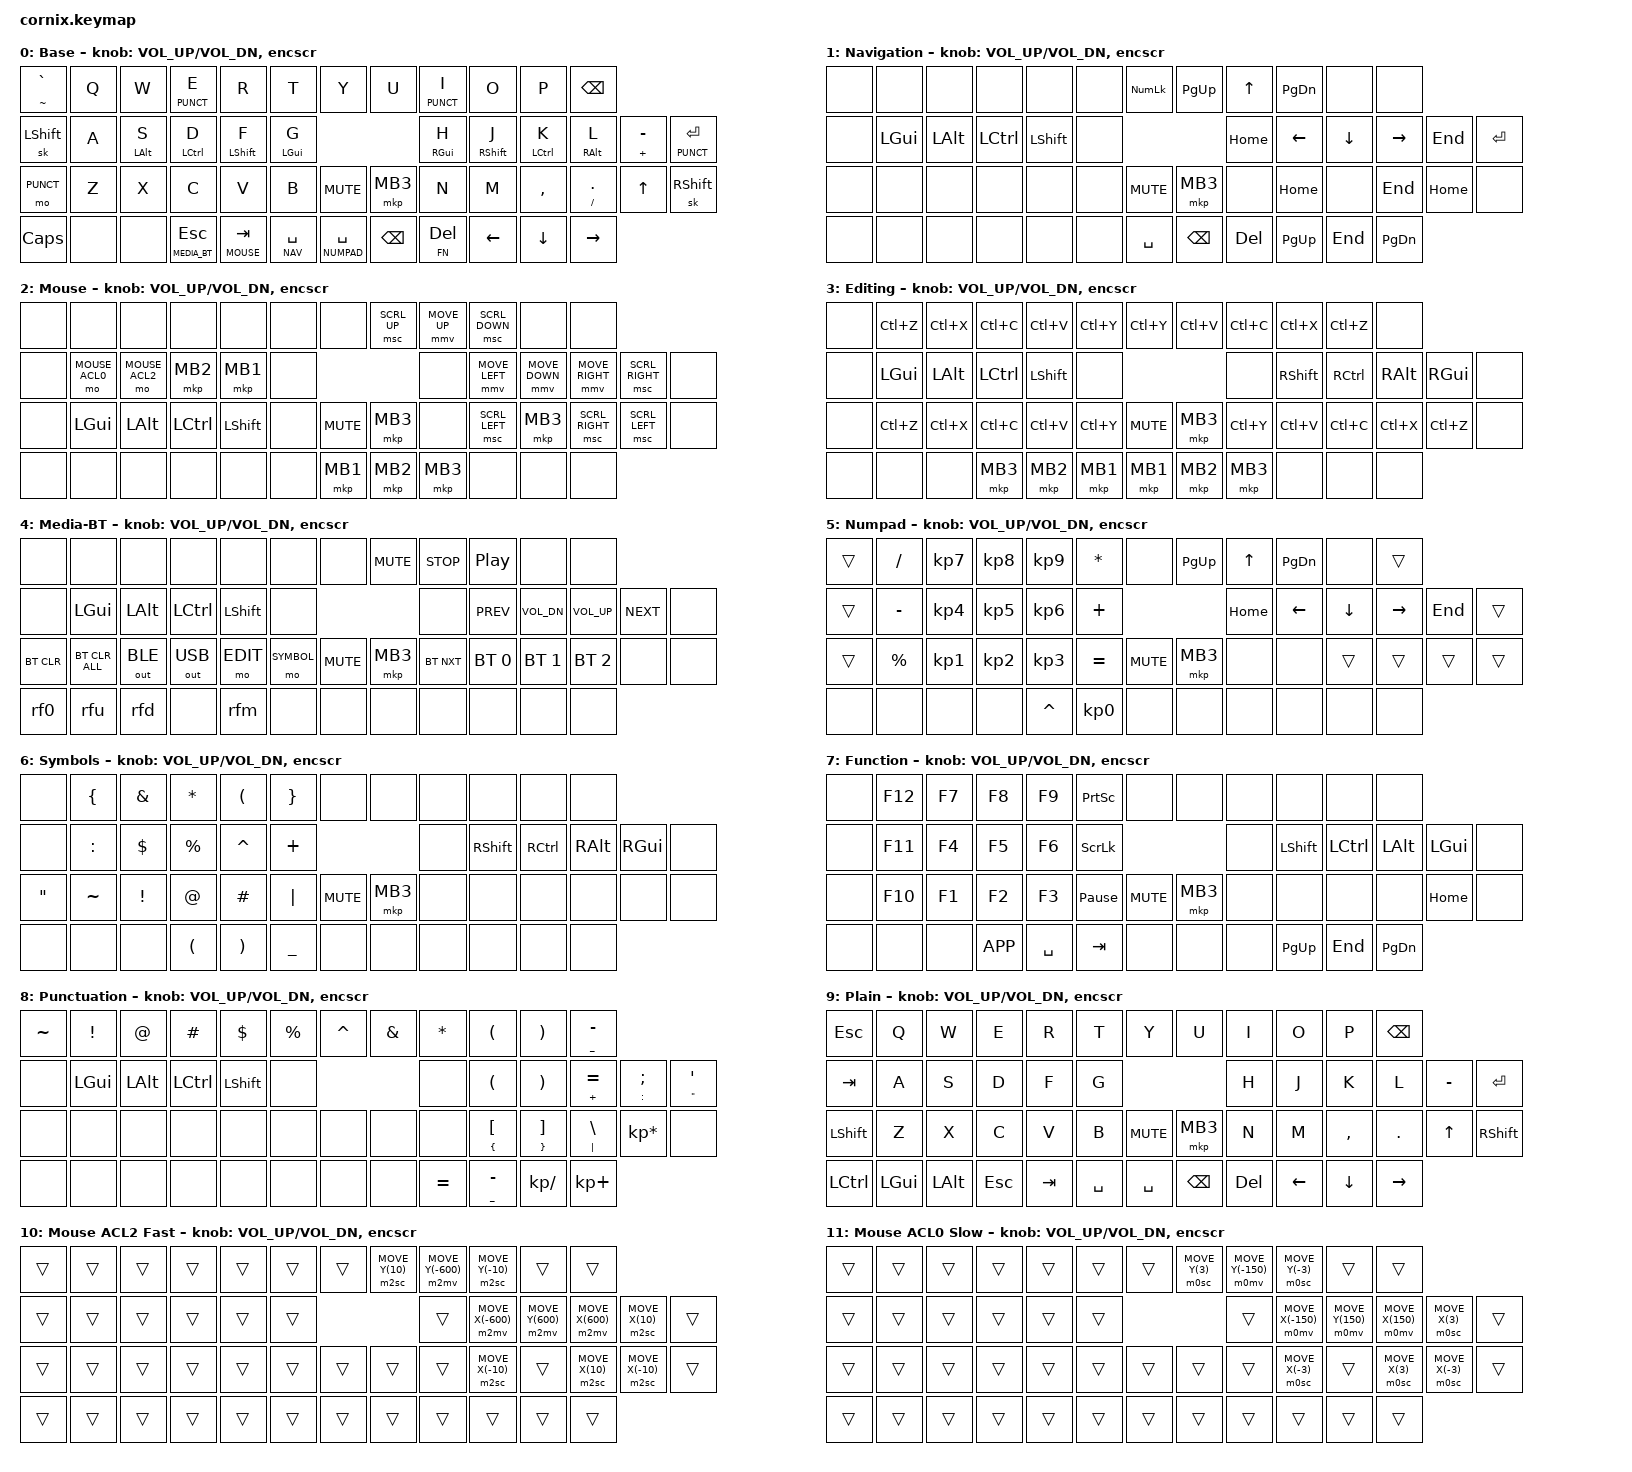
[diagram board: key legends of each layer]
/*
 * Cornix ZMK BASIC 260817 FIXED v1.2
 * Converted from the user's RMK/Vial backup: "cornix 260817.vil".
 *
 * 10 user layers + 2 internal mouse-speed layers, 50 positions, two encoders, 31 active combos.
 * Includes BT recovery/output controls and runtime TX 0/+/-/MAX.
 * No Korean chord/abbreviation engine or other custom typing engine is included.
 * SPDX-License-Identifier: MIT
 */

#include <behaviors.dtsi>
#include <dt-bindings/zmk/bt.h>
#include <dt-bindings/zmk/keys.h>
#include <dt-bindings/zmk/pointing.h>
#include <dt-bindings/zmk/outputs.h>
#include <zephyr/dt-bindings/input/input-event-codes.h>

#define BASE      0
#define NAV       1
#define MOUSE     2
#define EDIT      3
#define MEDIA_BT  4
#define NUMPAD    5
#define SYMBOL    6
#define FN        7
#define PUNCT     8
#define PLAIN     9
#define MOUSE_ACL2 10
#define MOUSE_ACL0 11

/ {
    behaviors {
        hml: home_row_mod_left {
            compatible = "zmk,behavior-hold-tap";
            #binding-cells = <2>;
            bindings = <&kp>, <&kp>;
            flavor = "balanced";
            tapping-term-ms = <200>;
            require-prior-idle-ms = <150>;
            hold-trigger-key-positions = <6 7 8 9 10 11 18 19 20 21 22 23 31 32 33 34 35 36 37 44 45 46 47 48 49>;
            hold-trigger-on-release;
            display-name = "HRM Left";
        };

        hmr: home_row_mod_right {
            compatible = "zmk,behavior-hold-tap";
            #binding-cells = <2>;
            bindings = <&kp>, <&kp>;
            flavor = "balanced";
            tapping-term-ms = <200>;
            require-prior-idle-ms = <150>;
            hold-trigger-key-positions = <0 1 2 3 4 5 12 13 14 15 16 17 24 25 26 27 28 29 30 38 39 40 41 42 43>;
            hold-trigger-on-release;
            display-name = "HRM Right";
        };

        th150: tap_hold_150 {
            compatible = "zmk,behavior-hold-tap";
            #binding-cells = <2>;
            bindings = <&kp>, <&kp>;
            flavor = "tap-preferred";
            tapping-term-ms = <150>;
            display-name = "Tap-Hold 150";
        };

        th200: tap_hold_200 {
            compatible = "zmk,behavior-hold-tap";
            #binding-cells = <2>;
            bindings = <&kp>, <&kp>;
            flavor = "tap-preferred";
            tapping-term-ms = <200>;
            display-name = "Tap-Hold 200";
        };

        th250: tap_hold_250 {
            compatible = "zmk,behavior-hold-tap";
            #binding-cells = <2>;
            bindings = <&kp>, <&kp>;
            flavor = "tap-preferred";
            tapping-term-ms = <250>;
            display-name = "Tap-Hold 250";
        };

        lt60: layer_tap_60 {
            compatible = "zmk,behavior-hold-tap";
            #binding-cells = <2>;
            bindings = <&mo>, <&kp>;
            flavor = "tap-preferred";
            tapping-term-ms = <60>;
            display-name = "Layer-Tap 60";
        };

        lt80: layer_tap_80 {
            compatible = "zmk,behavior-hold-tap";
            #binding-cells = <2>;
            bindings = <&mo>, <&kp>;
            flavor = "tap-preferred";
            tapping-term-ms = <80>;
            display-name = "Layer-Tap 80";
        };

        lt120: layer_tap_120 {
            compatible = "zmk,behavior-hold-tap";
            #binding-cells = <2>;
            bindings = <&mo>, <&kp>;
            flavor = "tap-preferred";
            tapping-term-ms = <120>;
            display-name = "Layer-Tap 120";
        };

        /*
         * Vial LT4(Esc) and LT7(Delete) used Permissive Hold + Chordal Hold.
         * Keep fast same-hand rolls as taps, while opposite-hand chords turn
         * into the held layer as soon as the trigger key is released.
         */
        ltl200: layer_tap_left_200 {
            compatible = "zmk,behavior-hold-tap";
            #binding-cells = <2>;
            bindings = <&mo>, <&kp>;
            flavor = "balanced";
            tapping-term-ms = <200>;
            require-prior-idle-ms = <150>;
            hold-trigger-key-positions = <6 7 8 9 10 11 18 19 20 21 22 23 31 32 33 34 35 36 37 44 45 46 47 48 49>;
            hold-trigger-on-release;
            display-name = "Layer-Tap Left 200";
        };

        ltr200: layer_tap_right_200 {
            compatible = "zmk,behavior-hold-tap";
            #binding-cells = <2>;
            bindings = <&mo>, <&kp>;
            flavor = "balanced";
            tapping-term-ms = <200>;
            require-prior-idle-ms = <150>;
            hold-trigger-key-positions = <0 1 2 3 4 5 12 13 14 15 16 17 24 25 26 27 28 29 30 38 39 40 41 42 43>;
            hold-trigger-on-release;
            display-name = "Layer-Tap Right 200";
        };

        lt250: layer_tap_250 {
            compatible = "zmk,behavior-hold-tap";
            #binding-cells = <2>;
            bindings = <&mo>, <&kp>;
            flavor = "tap-preferred";
            tapping-term-ms = <250>;
            display-name = "Layer-Tap 250";
        };


        /* Runtime BLE transmit-output controls. RX sensitivity is unchanged. */
        rf0: rf0 {
            compatible = "zmk,behavior-rf-power";
            #binding-cells = <0>;
            command = <1>;
            display-name = "TX 0 dBm";
        };

        rfu: rfu {
            compatible = "zmk,behavior-rf-power";
            #binding-cells = <0>;
            command = <2>;
            display-name = "TX Power +";
        };

        rfd: rfd {
            compatible = "zmk,behavior-rf-power";
            #binding-cells = <0>;
            command = <0>;
            display-name = "TX Power -";
        };

        rfm: rfm {
            compatible = "zmk,behavior-rf-power";
            #binding-cells = <0>;
            command = <3>;
            display-name = "TX MAX +8";
        };

        encscr: encoder_scroll {
            compatible = "zmk,behavior-sensor-rotate";
            #sensor-binding-cells = <0>;
            bindings = <&msc SCRL_DOWN>, <&msc SCRL_UP>;
        };


        /*
         * QMK/Vial KC_ACL0 and KC_ACL2 equivalents.
         *
         * Normal &mmv keeps ZMK's 300 ms acceleration curve. While ACL0 or
         * ACL2 is held, a helper layer replaces only the movement/scroll keys
         * with constant-speed behavior instances:
         *   ACL0: cursor 150 (1/4 of ZMK's 600 default), scroll 3
         *   ACL2: cursor 600 (immediate maximum), scroll 10
         */
        m0mv: mouse_move_acl0 {
            compatible = "zmk,behavior-input-two-axis";
            #binding-cells = <1>;
            x-input-code = <INPUT_REL_X>;
            y-input-code = <INPUT_REL_Y>;
            trigger-period-ms = <16>;
            time-to-max-speed-ms = <0>;
            acceleration-exponent = <0>;
            display-name = "Mouse ACL0 Slow";
        };

        m2mv: mouse_move_acl2 {
            compatible = "zmk,behavior-input-two-axis";
            #binding-cells = <1>;
            x-input-code = <INPUT_REL_X>;
            y-input-code = <INPUT_REL_Y>;
            trigger-period-ms = <16>;
            time-to-max-speed-ms = <0>;
            acceleration-exponent = <0>;
            display-name = "Mouse ACL2 Fast";
        };

        m0sc: mouse_scroll_acl0 {
            compatible = "zmk,behavior-input-two-axis";
            #binding-cells = <1>;
            x-input-code = <INPUT_REL_HWHEEL>;
            y-input-code = <INPUT_REL_WHEEL>;
            trigger-period-ms = <16>;
            time-to-max-speed-ms = <0>;
            acceleration-exponent = <0>;
            display-name = "Scroll ACL0 Slow";
        };

        m2sc: mouse_scroll_acl2 {
            compatible = "zmk,behavior-input-two-axis";
            #binding-cells = <1>;
            x-input-code = <INPUT_REL_HWHEEL>;
            y-input-code = <INPUT_REL_WHEEL>;
            trigger-period-ms = <16>;
            time-to-max-speed-ms = <0>;
            acceleration-exponent = <0>;
            display-name = "Scroll ACL2 Fast";
        };
    };

    m0mv_input_listener: m0mv_input_listener {
        compatible = "zmk,input-listener";
        device = <&m0mv>;
    };

    m2mv_input_listener: m2mv_input_listener {
        compatible = "zmk,input-listener";
        device = <&m2mv>;
    };

    m0sc_input_listener: m0sc_input_listener {
        compatible = "zmk,input-listener";
        device = <&m0sc>;
    };

    m2sc_input_listener: m2sc_input_listener {
        compatible = "zmk,input-listener";
        device = <&m2sc>;
    };

    combos {
        compatible = "zmk,combos";
        combo_00 {
            timeout-ms = <40>;
            key-positions = <3 4>;
            bindings = <&kp LG(SPACE)>;
            layers = <BASE>;
        };
        combo_01 {
            timeout-ms = <40>;
            key-positions = <3 2>;
            bindings = <&kp LANG2>;
            layers = <BASE>;
        };
        combo_02 {
            timeout-ms = <40>;
            key-positions = <8 9>;
            bindings = <&kp LANG1>;
            layers = <BASE>;
        };
        combo_03 {
            timeout-ms = <40>;
            key-positions = <7 8>;
            bindings = <&kp F2>;
            layers = <BASE>;
        };
        combo_04 {
            timeout-ms = <40>;
            key-positions = <34 33>;
            bindings = <&kp EQUAL>;
            layers = <BASE PLAIN>;
        };
        combo_05 {
            timeout-ms = <40>;
            key-positions = <16 17>;
            bindings = <&kp LPAR>;
            layers = <BASE>;
        };
        combo_06 {
            timeout-ms = <40>;
            key-positions = <34 35>;
            bindings = <&kp SEMI>;
            layers = <BASE NUMPAD>;
        };
        combo_07 {
            timeout-ms = <40>;
            key-positions = <4 5>;
            bindings = <&kp LBRC>;
            layers = <BASE PLAIN>;
        };
        combo_08 {
            timeout-ms = <40>;
            key-positions = <25 26>;
            bindings = <&kp LC(X)>;
            layers = <BASE PLAIN>;
        };
        combo_09 {
            timeout-ms = <40>;
            key-positions = <21 22>;
            bindings = <&kp SQT>;
            layers = <BASE>;
        };
        combo_10 {
            timeout-ms = <40>;
            key-positions = <19 18>;
            bindings = <&kp RPAR>;
            layers = <BASE>;
        };
        combo_11 {
            timeout-ms = <40>;
            key-positions = <29 28>;
            bindings = <&kp LBKT>;
            layers = <BASE PLAIN>;
        };
        combo_12 {
            timeout-ms = <40>;
            key-positions = <32 33>;
            bindings = <&kp RBKT>;
            layers = <BASE PLAIN>;
        };
        combo_13 {
            timeout-ms = <40>;
            key-positions = <26 28>;
            bindings = <&kp LC(LS(V))>;
            layers = <BASE PLAIN>;
        };
        combo_14 {
            timeout-ms = <40>;
            key-positions = <6 7>;
            bindings = <&kp RBRC>;
            layers = <BASE PLAIN>;
        };
        combo_15 {
            timeout-ms = <40>;
            key-positions = <36 35>;
            bindings = <&kp EXCL>;
            layers = <BASE NUMPAD>;
        };
        combo_16 {
            timeout-ms = <40>;
            key-positions = <26 27>;
            bindings = <&kp LC(C)>;
            layers = <BASE PLAIN>;
        };
        combo_17 {
            timeout-ms = <40>;
            key-positions = <27 28>;
            bindings = <&kp LC(V)>;
            layers = <BASE PLAIN>;
        };
        combo_19 {
            timeout-ms = <40>;
            key-positions = <7 9>;
            bindings = <&caps_word>;
            layers = <BASE PLAIN>;
        };
        combo_20 {
            timeout-ms = <40>;
            key-positions = <1 13>;
            bindings = <&kp N1>;
            layers = <BASE PLAIN>;
        };
        combo_21 {
            timeout-ms = <40>;
            key-positions = <2 14>;
            bindings = <&kp N2>;
            layers = <BASE>;
        };
        combo_22 {
            timeout-ms = <40>;
            key-positions = <3 15>;
            bindings = <&kp N3>;
            layers = <BASE>;
        };
        combo_23 {
            timeout-ms = <40>;
            key-positions = <4 16>;
            bindings = <&kp N4>;
            layers = <BASE>;
        };
        combo_24 {
            timeout-ms = <40>;
            key-positions = <5 17>;
            bindings = <&kp N5>;
            layers = <BASE>;
        };
        combo_25 {
            timeout-ms = <40>;
            key-positions = <6 18>;
            bindings = <&kp N6>;
            layers = <BASE>;
        };
        combo_26 {
            timeout-ms = <40>;
            key-positions = <7 19>;
            bindings = <&kp N7>;
            layers = <BASE>;
        };
        combo_27 {
            timeout-ms = <40>;
            key-positions = <8 20>;
            bindings = <&kp N8>;
            layers = <BASE>;
        };
        combo_28 {
            timeout-ms = <40>;
            key-positions = <9 21>;
            bindings = <&kp N9>;
            layers = <BASE>;
        };
        combo_29 {
            timeout-ms = <40>;
            key-positions = <10 22>;
            bindings = <&kp N0>;
            layers = <BASE>;
        };
        combo_30 {
            timeout-ms = <40>;
            key-positions = <17 18 4 7>;
            bindings = <&to BASE>;
            layers = <PLAIN>;
        };
        combo_31 {
            timeout-ms = <40>;
            key-positions = <17 18 4 7>;
            bindings = <&to PLAIN>;
            layers = <BASE>;
        };
    };

    keymap {
        compatible = "zmk,keymap";
        base_layer {
            display-name = "Base";
            bindings = <
                &th150 TILDE GRAVE  &kp Q  &kp W  &lt250 PUNCT E  &kp R  &kp T  &kp Y  &kp U  &lt250 PUNCT I  &kp O  &kp P  &kp BSPC
                &sk LSHIFT  &kp A  &hml LALT S  &hml LCTRL D  &hml LSHIFT F  &hml LGUI G  &hmr RGUI H  &hmr RSHIFT J  &hmr LCTRL K  &hmr RALT L  &th250 PLUS MINUS  &lt80 PUNCT RET
                &mo PUNCT  &kp Z  &kp X  &kp C  &kp V  &kp B  &kp C_MUTE  &mkp MB3  &kp N  &kp M  &kp COMMA  &th200 FSLH DOT  &kp UP  &sk RSHIFT
                &kp CAPSLOCK  &none  &none  &ltl200 MEDIA_BT ESC  &lt120 MOUSE TAB  &lt60 NAV SPACE  &lt60 NUMPAD SPACE  &kp BSPC  &ltr200 FN DEL  &kp LEFT  &kp DOWN  &kp RIGHT
            >;
            sensor-bindings = <&inc_dec_kp C_VOL_UP C_VOL_DN  &encscr>;
        };

        nav_layer {
            display-name = "Navigation";
            bindings = <
                &none  &none  &none  &none  &none  &none  &kp KP_NUM  &kp PG_UP  &kp UP  &kp PG_DN  &none  &none
                &none  &kp LGUI  &kp LALT  &kp LCTRL  &kp LSHIFT  &none  &kp HOME  &kp LEFT  &kp DOWN  &kp RIGHT  &kp END  &kp RET
                &none  &none  &none  &none  &none  &none  &kp C_MUTE  &mkp MB3  &none  &kp HOME  &none  &kp END  &kp HOME  &none
                &none  &none  &none  &none  &none  &none  &kp SPACE  &kp BSPC  &kp DEL  &kp PG_UP  &kp END  &kp PG_DN
            >;
            sensor-bindings = <&inc_dec_kp C_VOL_UP C_VOL_DN  &encscr>;
        };

        mouse_layer {
            display-name = "Mouse";
            bindings = <
                &none  &none  &none  &none  &none  &none  &none  &msc SCRL_UP  &mmv MOVE_UP  &msc SCRL_DOWN  &none  &none
                &none  &mo MOUSE_ACL0  &mo MOUSE_ACL2  &mkp MB2  &mkp MB1  &none  &none  &mmv MOVE_LEFT  &mmv MOVE_DOWN  &mmv MOVE_RIGHT  &msc SCRL_RIGHT  &none
                &none  &kp LGUI  &kp LALT  &kp LCTRL  &kp LSHIFT  &none  &kp C_MUTE  &mkp MB3  &none  &msc SCRL_LEFT  &mkp MB3  &msc SCRL_RIGHT  &msc SCRL_LEFT  &none
                &none  &none  &none  &none  &none  &none  &mkp MB1  &mkp MB2  &mkp MB3  &none  &none  &none
            >;
            sensor-bindings = <&inc_dec_kp C_VOL_UP C_VOL_DN  &encscr>;
        };

        edit_layer {
            display-name = "Editing";
            bindings = <
                &none  &kp LC(Z)  &kp LC(X)  &kp LC(C)  &kp LC(V)  &kp LC(Y)  &kp LC(Y)  &kp LC(V)  &kp LC(C)  &kp LC(X)  &kp LC(Z)  &none
                &none  &kp LGUI  &kp LALT  &kp LCTRL  &kp LSHIFT  &none  &none  &kp RSHIFT  &kp RCTRL  &kp RALT  &kp RGUI  &none
                &none  &kp LC(Z)  &kp LC(X)  &kp LC(C)  &kp LC(V)  &kp LC(Y)  &kp C_MUTE  &mkp MB3  &kp LC(Y)  &kp LC(V)  &kp LC(C)  &kp LC(X)  &kp LC(Z)  &none
                &none  &none  &none  &mkp MB3  &mkp MB2  &mkp MB1  &mkp MB1  &mkp MB2  &mkp MB3  &none  &none  &none
            >;
            sensor-bindings = <&inc_dec_kp C_VOL_UP C_VOL_DN  &encscr>;
        };

        media_bt_layer {
            display-name = "Media-BT";
            bindings = <
                &none  &none  &none  &none  &none  &none  &none  &kp C_MUTE  &kp C_STOP  &kp C_PLAY_PAUSE  &none  &none
                &none  &kp LGUI  &kp LALT  &kp LCTRL  &kp LSHIFT  &none  &none  &kp C_PREV  &kp C_VOL_DN  &kp C_VOL_UP  &kp C_NEXT  &none
                &bt BT_CLR  &bt BT_CLR_ALL  &out OUT_BLE  &out OUT_USB  &mo EDIT  &mo SYMBOL  &kp C_MUTE  &mkp MB3  &bt BT_NXT  &bt BT_SEL 0  &bt BT_SEL 1  &bt BT_SEL 2  &none  &none
                &rf0  &rfu  &rfd  &none  &rfm  &none  &none  &none  &none  &none  &none  &none
            >;
            sensor-bindings = <&inc_dec_kp C_VOL_UP C_VOL_DN  &encscr>;
        };

        numpad_layer {
            display-name = "Numpad";
            bindings = <
                &trans  &kp FSLH  &kp KP_N7  &kp KP_N8  &kp KP_N9  &kp ASTERISK  &none  &kp PG_UP  &kp UP  &kp PG_DN  &none  &trans
                &trans  &kp MINUS  &kp KP_N4  &kp KP_N5  &kp KP_N6  &kp PLUS  &kp HOME  &kp LEFT  &kp DOWN  &kp RIGHT  &kp END  &trans
                &trans  &kp PRCNT  &kp KP_N1  &kp KP_N2  &kp KP_N3  &kp EQUAL  &kp C_MUTE  &mkp MB3  &none  &none  &trans  &trans  &trans  &trans
                &none  &none  &none  &none  &kp CARET  &kp KP_N0  &none  &none  &none  &none  &none  &none
            >;
            sensor-bindings = <&inc_dec_kp C_VOL_UP C_VOL_DN  &encscr>;
        };

        symbol_layer {
            display-name = "Symbols";
            bindings = <
                &none  &kp LBRC  &kp AMPS  &kp ASTERISK  &kp LPAR  &kp RBRC  &none  &none  &none  &none  &none  &none
                &none  &kp COLON  &kp DLLR  &kp PRCNT  &kp CARET  &kp PLUS  &none  &kp RSHIFT  &kp RCTRL  &kp RALT  &kp RGUI  &none
                &kp DQT  &kp TILDE  &kp EXCL  &kp AT  &kp HASH  &kp PIPE  &kp C_MUTE  &mkp MB3  &none  &none  &none  &none  &none  &none
                &none  &none  &none  &kp LPAR  &kp RPAR  &kp UNDER  &none  &none  &none  &none  &none  &none
            >;
            sensor-bindings = <&inc_dec_kp C_VOL_UP C_VOL_DN  &encscr>;
        };

        fn_layer {
            display-name = "Function";
            bindings = <
                &none  &kp F12  &kp F7  &kp F8  &kp F9  &kp PSCRN  &none  &none  &none  &none  &none  &none
                &none  &kp F11  &kp F4  &kp F5  &kp F6  &kp SLCK  &none  &kp LSHIFT  &kp LCTRL  &kp LALT  &kp LGUI  &none
                &none  &kp F10  &kp F1  &kp F2  &kp F3  &kp PAUSE_BREAK  &kp C_MUTE  &mkp MB3  &none  &none  &none  &none  &kp HOME  &none
                &none  &none  &none  &kp K_APP  &kp SPACE  &kp TAB  &none  &none  &none  &kp PG_UP  &kp END  &kp PG_DN
            >;
            sensor-bindings = <&inc_dec_kp C_VOL_UP C_VOL_DN  &encscr>;
        };

        punct_layer {
            display-name = "Punctuation";
            bindings = <
                &kp TILDE  &kp EXCL  &kp AT  &kp HASH  &kp DLLR  &kp PRCNT  &kp CARET  &kp AMPS  &kp ASTERISK  &kp LPAR  &kp RPAR  &th150 UNDER MINUS
                &none  &kp LGUI  &kp LALT  &kp LCTRL  &kp LSHIFT  &none  &none  &kp LPAR  &kp RPAR  &th150 PLUS EQUAL  &th150 COLON SEMI  &th150 DQT SQT
                &none  &none  &none  &none  &none  &none  &none  &none  &none  &th150 LBRC LBKT  &th150 RBRC RBKT  &th150 PIPE BSLH  &kp KP_ASTERISK  &none
                &none  &none  &none  &none  &none  &none  &none  &none  &kp EQUAL  &th150 UNDER MINUS  &kp KP_SLASH  &kp KP_PLUS
            >;
            sensor-bindings = <&inc_dec_kp C_VOL_UP C_VOL_DN  &encscr>;
        };

        plain_layer {
            display-name = "Plain";
            bindings = <
                &kp ESC  &kp Q  &kp W  &kp E  &kp R  &kp T  &kp Y  &kp U  &kp I  &kp O  &kp P  &kp BSPC
                &kp TAB  &kp A  &kp S  &kp D  &kp F  &kp G  &kp H  &kp J  &kp K  &kp L  &kp MINUS  &kp RET
                &kp LSHIFT  &kp Z  &kp X  &kp C  &kp V  &kp B  &kp C_MUTE  &mkp MB3  &kp N  &kp M  &kp COMMA  &kp DOT  &kp UP  &kp RSHIFT
                &kp LCTRL  &kp LGUI  &kp LALT  &kp ESC  &kp TAB  &kp SPACE  &kp SPACE  &kp BSPC  &kp DEL  &kp LEFT  &kp DOWN  &kp RIGHT
            >;
            sensor-bindings = <&inc_dec_kp C_VOL_UP C_VOL_DN  &encscr>;
        };


        /* Internal helper layer for momentary KC_ACL2-equivalent maximum speed. */
        mouse_acl2_layer {
            display-name = "Mouse ACL2 Fast";
            bindings = <
                &trans  &trans  &trans  &trans  &trans  &trans  &trans  &m2sc MOVE_Y(10)  &m2mv MOVE_Y(-600)  &m2sc MOVE_Y(-10)  &trans  &trans
                &trans  &trans  &trans  &trans  &trans  &trans  &trans  &m2mv MOVE_X(-600)  &m2mv MOVE_Y(600)  &m2mv MOVE_X(600)  &m2sc MOVE_X(10)  &trans
                &trans  &trans  &trans  &trans  &trans  &trans  &trans  &trans  &trans  &m2sc MOVE_X(-10)  &trans  &m2sc MOVE_X(10)  &m2sc MOVE_X(-10)  &trans
                &trans  &trans  &trans  &trans  &trans  &trans  &trans  &trans  &trans  &trans  &trans  &trans
            >;
            sensor-bindings = <&inc_dec_kp C_VOL_UP C_VOL_DN  &encscr>;
        };

        /* Internal helper layer for momentary KC_ACL0-equivalent precision speed. */
        mouse_acl0_layer {
            display-name = "Mouse ACL0 Slow";
            bindings = <
                &trans  &trans  &trans  &trans  &trans  &trans  &trans  &m0sc MOVE_Y(3)  &m0mv MOVE_Y(-150)  &m0sc MOVE_Y(-3)  &trans  &trans
                &trans  &trans  &trans  &trans  &trans  &trans  &trans  &m0mv MOVE_X(-150)  &m0mv MOVE_Y(150)  &m0mv MOVE_X(150)  &m0sc MOVE_X(3)  &trans
                &trans  &trans  &trans  &trans  &trans  &trans  &trans  &trans  &trans  &m0sc MOVE_X(-3)  &trans  &m0sc MOVE_X(3)  &m0sc MOVE_X(-3)  &trans
                &trans  &trans  &trans  &trans  &trans  &trans  &trans  &trans  &trans  &trans  &trans  &trans
            >;
            sensor-bindings = <&inc_dec_kp C_VOL_UP C_VOL_DN  &encscr>;
        };
    };
};
